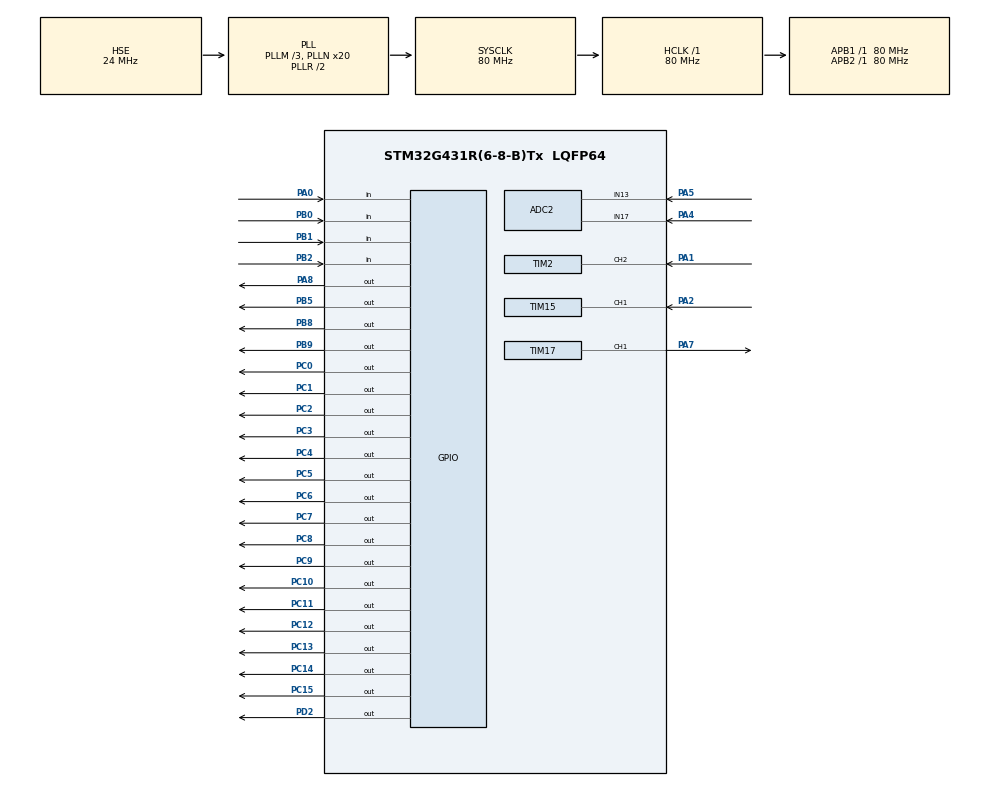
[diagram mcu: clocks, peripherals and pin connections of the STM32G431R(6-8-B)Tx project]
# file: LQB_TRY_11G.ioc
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ADC2.Channel-0\#ChannelRegularConversion=ADC_CHANNEL_17
ADC2.Channel-1\#ChannelRegularConversion=ADC_CHANNEL_13
ADC2.NbrOfConversion=2
ADC2.NbrOfConversionFlag=1
ADC2.OffsetNumber-0\#ChannelRegularConversion=ADC_OFFSET_NONE
ADC2.OffsetNumber-1\#ChannelRegularConversion=ADC_OFFSET_NONE
ADC2.Rank-0\#ChannelRegularConversion=1
ADC2.Rank-1\#ChannelRegularConversion=2
ADC2.SamplingTime-0\#ChannelRegularConversion=ADC_SAMPLETIME_640CYCLES_5
ADC2.SamplingTime-1\#ChannelRegularConversion=ADC_SAMPLETIME_640CYCLES_5
Mcu.Family=STM32G4
Mcu.Name=STM32G431R(6-8-B)Tx
Mcu.Package=LQFP64
NVIC.PriorityGroup=NVIC_PRIORITYGROUP_4
NVIC.TIM1_BRK_TIM15_IRQn=true\:0\:0\:false\:false\:true\:true\:true
NVIC.TIM2_IRQn=true\:0\:0\:false\:false\:true\:true\:true
NVIC.TIM6_DAC_IRQn=true\:0\:0\:false\:false\:true\:true\:true
PA0.GPIO_Mode=GPIO_MODE_INPUT
PA0.GPIO_PuPd=GPIO_PULLUP
PA0.Signal=GPIO_Input
PA1.Signal=S_TIM2_CH2
PA13.Mode=Serial_Wire
PA13.Signal=SYS_JTMS-SWDIO
PA14.Mode=Serial_Wire
PA14.Signal=SYS_JTCK-SWCLK
PA2.Signal=S_TIM15_CH1
PA4.Mode=IN17-Single-Ended
PA4.Signal=ADC2_IN17
PA5.Mode=IN13-Single-Ended
PA5.Signal=ADC2_IN13
PA7.Signal=S_TIM17_CH1
PA8.Signal=GPIO_Output
PB0.GPIO_Mode=GPIO_MODE_INPUT
PB0.GPIO_PuPd=GPIO_PULLUP
PB0.Signal=GPIO_Input
PB1.GPIO_Mode=GPIO_MODE_INPUT
PB1.GPIO_PuPd=GPIO_PULLUP
PB1.Signal=GPIO_Input
PB2.GPIO_Mode=GPIO_MODE_INPUT
PB2.GPIO_PuPd=GPIO_PULLUP
PB2.Signal=GPIO_Input
PB5.Signal=GPIO_Output
PB8-BOOT0.Signal=GPIO_Output
PB9.Signal=GPIO_Output
PC0.Signal=GPIO_Output
PC1.Signal=GPIO_Output
PC10.Signal=GPIO_Output
PC11.Signal=GPIO_Output
PC12.Signal=GPIO_Output
PC13.Signal=GPIO_Output
PC14-OSC32_IN.Signal=GPIO_Output
PC15-OSC32_OUT.Signal=GPIO_Output
PC2.Signal=GPIO_Output
PC3.Signal=GPIO_Output
PC4.Signal=GPIO_Output
PC5.Signal=GPIO_Output
PC6.Signal=GPIO_Output
PC7.Signal=GPIO_Output
PC8.Signal=GPIO_Output
PC9.Signal=GPIO_Output
PD2.Signal=GPIO_Output
PF0-OSC_IN.Mode=HSE-External-Oscillator
PF0-OSC_IN.Signal=RCC_OSC_IN
PF1-OSC_OUT.Mode=HSE-External-Oscillator
PF1-OSC_OUT.Signal=RCC_OSC_OUT
ProjectManager.HeapSize=0x200
ProjectManager.StackSize=0x400
ProjectManager.TargetToolchain=MDK-ARM V5
RCC.ADC12Freq_Value=80000000
RCC.AHBFreq_Value=80000000
RCC.APB1Freq_Value=80000000
RCC.APB1TimFreq_Value=80000000
RCC.APB2Freq_Value=80000000
RCC.APB2TimFreq_Value=80000000
RCC.CortexFreq_Value=80000000
RCC.EXTERNAL_CLOCK_VALUE=12288000
RCC.HCLKFreq_Value=80000000
RCC.HSE_VALUE=24000000
RCC.HSI48_VALUE=48000000
RCC.HSI_VALUE=16000000
RCC.LSE_VALUE=32768
RCC.PLLM=RCC_PLLM_DIV3
RCC.PLLN=20
RCC.PLLSourceVirtual=RCC_PLLSOURCE_HSE
RCC.SYSCLKFreq_VALUE=80000000
RCC.SYSCLKSource=RCC_SYSCLKSOURCE_PLLCLK
RCC.USBFreq_Value=80000000
RCC.VCOOutputFreq_Value=160000000
SH.S_TIM15_CH1.0=TIM15_CH1,Input_Capture1_from_TI1
SH.S_TIM17_CH1.0=TIM17_CH1,PWM Generation1 CH1
SH.S_TIM2_CH2.0=TIM2_CH2,Input_Capture2_from_TI2
TIM15.Channel-Input_Capture1_from_TI1=TIM_CHANNEL_1
TIM15.Prescaler=79
TIM17.Channel=TIM_CHANNEL_1
TIM17.PeriodNoDither=99
TIM17.Prescaler=799
TIM17.PulseNoDither_1=50
TIM2.Channel-Input_Capture2_from_TI2=TIM_CHANNEL_2
TIM2.PeriodNoDither=65535
TIM2.Prescaler=79
TIM6.PeriodNoDither=999
TIM6.Prescaler=799
VP_SYS_VS_DBSignals.Mode=DisableDeadBatterySignals
VP_TIM15_VS_ClockSourceINT.Mode=Internal
VP_TIM17_VS_ClockSourceINT.Mode=Enable_Timer
VP_TIM2_VS_ClockSourceINT.Mode=Internal
VP_TIM6_VS_ClockSourceINT.Mode=Enable_Timer
board=custom

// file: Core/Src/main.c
/* USER CODE BEGIN Header */
/**
  ******************************************************************************
  * @file           : main.c
  * @brief          : Main program body
  ******************************************************************************
  * @attention
  *
  * <h2><center>&copy; Copyright (c) 2023 STMicroelectronics.
  * All rights reserved.</center></h2>
  *
  * This software component is licensed by ST under BSD 3-Clause license,
  * the "License"; You may not use this file except in compliance with the
  * License. You may obtain a copy of the License at:
  *                        opensource.org/licenses/BSD-3-Clause
  *
  ******************************************************************************
  */
/* USER CODE END Header */
#include "main.h"
#include "adc.h"
#include "tim.h"
#include "gpio.h"

/* USER CODE BEGIN Includes */
#include "lcd.h"
/* USER CODE END Includes */

/* USER CODE BEGIN PTD */
typedef struct
{
	bool key_sta,single_sta;
	unsigned char judge_sta;
}keys;
/* USER CODE END PTD */

/* USER CODE BEGIN PV */
bool page=0,pa7=0;
double frq_2=0,frq_15=0,adc[2]={0};
keys key[4] = { 0 };
char text[30];
unsigned char v_led[2]={1,1},f_led[2]={2,2},adc_time=0;
/* USER CODE END PV */

void SystemClock_Config(void);
/* USER CODE BEGIN PFP */
void LCD_Proc(void);
void KEY_Proc(void);
void ADCValue(void);
void LED_Proc(unsigned char led,unsigned char sta);
/* USER CODE END PFP */

int main(void)
{

  /* MCU Configuration--------------------------------------------------------*/

  /* Reset of all peripherals, Initializes the Flash interface and the Systick. */
  HAL_Init();

  /* Configure the system clock */
  SystemClock_Config();

  /* Initialize all configured peripherals */
  MX_GPIO_Init();
  MX_ADC2_Init();
  MX_TIM2_Init();
  MX_TIM6_Init();
  MX_TIM15_Init();
  MX_TIM17_Init();
  /* USER CODE BEGIN 2 */
	//TIM15、TIM2_INIT
	HAL_TIM_IC_Start_IT(&htim15,TIM_CHANNEL_1);
	HAL_TIM_IC_Start_IT(&htim2,TIM_CHANNEL_2);
	//TIM6_INIT
	HAL_TIM_Base_Start_IT(&htim6);
	//TIM17_INIT
	HAL_TIM_PWM_Start(&htim17,TIM_CHANNEL_1);
	//LED_INIT
	LED_Proc(1,0);
	LCD_Init();
	LCD_Clear(Black);
	LCD_SetBackColor(Black);
	LCD_SetTextColor(White);
  /* USER CODE END 2 */

  /* Infinite loop */
  /* USER CODE BEGIN WHILE */
  while (1)
  {
		KEY_Proc();
		LCD_Proc();
		if(frq_2 > frq_15) LED_Proc(f_led[0],1);
		else LED_Proc(f_led[0],0);
		if(adc[0] > adc[1]) LED_Proc(v_led[0],1);
		else LED_Proc(v_led[0],0);
    /* USER CODE END WHILE */

  }
}

void SystemClock_Config(void)
{
  RCC_OscInitTypeDef RCC_OscInitStruct = {0};
  RCC_ClkInitTypeDef RCC_ClkInitStruct = {0};
  RCC_PeriphCLKInitTypeDef PeriphClkInit = {0};

  /** Configure the main internal regulator output voltage
  */
  HAL_PWREx_ControlVoltageScaling(PWR_REGULATOR_VOLTAGE_SCALE1);
  /** Initializes the RCC Oscillators according to the specified parameters
  * in the RCC_OscInitTypeDef structure.
  */
  RCC_OscInitStruct.OscillatorType = RCC_OSCILLATORTYPE_HSE;
  RCC_OscInitStruct.HSEState = RCC_HSE_ON;
  RCC_OscInitStruct.PLL.PLLState = RCC_PLL_ON;
  RCC_OscInitStruct.PLL.PLLSource = RCC_PLLSOURCE_HSE;
  RCC_OscInitStruct.PLL.PLLM = RCC_PLLM_DIV3;
  RCC_OscInitStruct.PLL.PLLN = 20;
  RCC_OscInitStruct.PLL.PLLP = RCC_PLLP_DIV2;
  RCC_OscInitStruct.PLL.PLLQ = RCC_PLLQ_DIV2;
  RCC_OscInitStruct.PLL.PLLR = RCC_PLLR_DIV2;
  if (HAL_RCC_OscConfig(&RCC_OscInitStruct) != HAL_OK)
  {
    Error_Handler();
  }
  /** Initializes the CPU, AHB and APB buses clocks
  */
  RCC_ClkInitStruct.ClockType = RCC_CLOCKTYPE_HCLK|RCC_CLOCKTYPE_SYSCLK
                              |RCC_CLOCKTYPE_PCLK1|RCC_CLOCKTYPE_PCLK2;
  RCC_ClkInitStruct.SYSCLKSource = RCC_SYSCLKSOURCE_PLLCLK;
  RCC_ClkInitStruct.AHBCLKDivider = RCC_SYSCLK_DIV1;
  RCC_ClkInitStruct.APB1CLKDivider = RCC_HCLK_DIV1;
  RCC_ClkInitStruct.APB2CLKDivider = RCC_HCLK_DIV1;

  if (HAL_RCC_ClockConfig(&RCC_ClkInitStruct, FLASH_LATENCY_2) != HAL_OK)
  {
    Error_Handler();
  }
  /** Initializes the peripherals clocks
  */
  PeriphClkInit.PeriphClockSelection = RCC_PERIPHCLK_ADC12;
  PeriphClkInit.Adc12ClockSelection = RCC_ADC12CLKSOURCE_SYSCLK;
  if (HAL_RCCEx_PeriphCLKConfig(&PeriphClkInit) != HAL_OK)
  {
    Error_Handler();
  }
}

/* USER CODE BEGIN 4 */
/************************************************************************************
*定时器定时
*TIM6 0.01s
************************************************************************************/
void HAL_TIM_PeriodElapsedCallback(TIM_HandleTypeDef *htim)
{
	if(htim->Instance == TIM6)
	{
		//ADC
		adc_time++;
		if(adc_time >= 20)
		{
			ADCValue();

			if(pa7 == 0)
			{
				htim17.Init.Prescaler = (800000/frq_2)-1;
				HAL_TIM_Base_Init(&htim17);
			}
			else if(pa7 == 1)
			{
				htim17.Init.Prescaler = (800000/frq_15)-1;
				HAL_TIM_Base_Init(&htim17);
			}
			else pa7 = 0;
			adc_time = 0;
		}

		key[0].key_sta = HAL_GPIO_ReadPin(GPIOB,GPIO_PIN_0);
		key[1].key_sta = HAL_GPIO_ReadPin(GPIOB,GPIO_PIN_1);
		key[2].key_sta = HAL_GPIO_ReadPin(GPIOB,GPIO_PIN_2);
		key[3].key_sta = HAL_GPIO_ReadPin(GPIOA,GPIO_PIN_0);
		for(int i=0;i<4;i++)
		{
			switch(key[i].judge_sta)
			{
				case 0:
				{
					if(key[i].key_sta == 0) key[i].judge_sta = 1;
				}
				break;
				case 1:
				{
					if(key[i].key_sta == 0)
					{
						key[i].single_sta = 1;
						key[i].judge_sta = 2;
					}
					else key[i].judge_sta = 0;
				}
				break;
				case 2:
				{
					if(key[i].key_sta == 1) key[i].judge_sta = 0;
				}
				break;
			}
		}
	}
}
/************************************************************************************
*按键操作
*KEY_Proc
************************************************************************************/
void KEY_Proc(void)
{
	if(key[0].single_sta == 1)
	{
		page = page == 0?1:0;
		if(page == 0)
		{
			LED_Proc(v_led[0],0);
			LED_Proc(f_led[0],0);
			v_led[0] = v_led[1];
			f_led[0] = f_led[1];
		}
		key[0].single_sta = 0;
	}
	if(key[1].single_sta == 1)
	{
		if(page == 1)
		{
			v_led[1] = v_led[1] >= 8?1:v_led[1]+1;
			v_led[1] = v_led[1] == f_led[1]?v_led[1]+1:v_led[1];
			v_led[1] = v_led[1] >= 9?1:v_led[1];
		}
		key[1].single_sta = 0;
	}
	if(key[2].single_sta == 1)
	{
		if(page == 1)
		{
			f_led[1] = f_led[1] >= 8?1:f_led[1]+1;
			f_led[1] = f_led[1] == v_led[1]?f_led[1]+1:f_led[1];
			f_led[1] = f_led[1] >= 9?1:f_led[1];
		}
		key[2].single_sta = 0;
	}
	if(key[3].single_sta == 1)
	{
		pa7 = pa7 == 0?1:0;
		key[3].single_sta = 0;
	}
}
/************************************************************************************
*屏幕显示
*LCD_Proc
************************************************************************************/
void LCD_Proc(void)
{
	if(page == 0)
	{
		LCD_DisplayStringLine(Line1,(u8 *)"    DATA  ");

		sprintf(text,"    V1:%.2fV    ",adc[0]/4095*3.3);
		LCD_DisplayStringLine(Line3,(u8 *)text);
		sprintf(text,"    V2:%.2fV    ",adc[1]/4095*3.3);
		LCD_DisplayStringLine(Line4,(u8 *)text);
		sprintf(text,"    F1:%.0fHz    ",frq_2);
		LCD_DisplayStringLine(Line5,(u8 *)text);
		sprintf(text,"    F2:%.0fHz    ",frq_15);
		LCD_DisplayStringLine(Line6,(u8 *)text);
	}
	else if(page == 1)
	{
		LCD_DisplayStringLine(Line1,(u8 *)"    PARA  ");

		sprintf(text,"    VD:LD%d    ",v_led[1]);
		LCD_DisplayStringLine(Line3,(u8 *)text);
		sprintf(text,"    FD:LD%d    ",f_led[1]);
		LCD_DisplayStringLine(Line4,(u8 *)text);
		LCD_DisplayStringLine(Line5,(u8 *)"                    ");
		LCD_DisplayStringLine(Line6,(u8 *)"                    ");
	}
	else page = 0;
}
/************************************************************************************
*ADC读值
*ADCValue
************************************************************************************/
void ADCValue(void)
{
	HAL_ADC_Start(&hadc2);
	adc[0] = HAL_ADC_GetValue(&hadc2);
	HAL_ADC_Start(&hadc2);
	adc[1] = HAL_ADC_GetValue(&hadc2);
}
/************************************************************************************
*LED控制
*LED_Proc
************************************************************************************/
void LED_Proc(unsigned char led,unsigned char sta)
{
	static unsigned char LED_STA = 0xff;
	if(sta == 0) LED_STA |= (0x01 << (led - 1));
	else LED_STA &= ~(0x01 << (led - 1));

	GPIOC->ODR = LED_STA << 8;
	HAL_GPIO_WritePin(GPIOD,GPIO_PIN_2,GPIO_PIN_SET);
	HAL_GPIO_WritePin(GPIOD,GPIO_PIN_2,GPIO_PIN_RESET);
}
/************************************************************************************
*输入捕获
*TIM2\CH2 || TIM15\CH1
************************************************************************************/
void HAL_TIM_IC_CaptureCallback(TIM_HandleTypeDef *htim)
{
	if(htim->Instance == TIM2)
	{
		frq_2 = HAL_TIM_ReadCapturedValue(htim,TIM_CHANNEL_2);
		__HAL_TIM_SetCounter(htim,0);
		frq_2 = 1000000 / frq_2;
		HAL_TIM_IC_Start(htim,TIM_CHANNEL_2);
	}
	else if(htim->Instance == TIM15)
	{
		frq_15 = HAL_TIM_ReadCapturedValue(htim,TIM_CHANNEL_1);
		__HAL_TIM_SetCounter(htim,0);
		frq_15 = 1000000 / frq_15;
		HAL_TIM_IC_Start(htim,TIM_CHANNEL_1);
	}
}

/* USER CODE END 4 */

void Error_Handler(void)
{
  __disable_irq();
  while (1)
  {
  }
}

/************************ (C) COPYRIGHT STMicroelectronics *****END OF FILE****/
